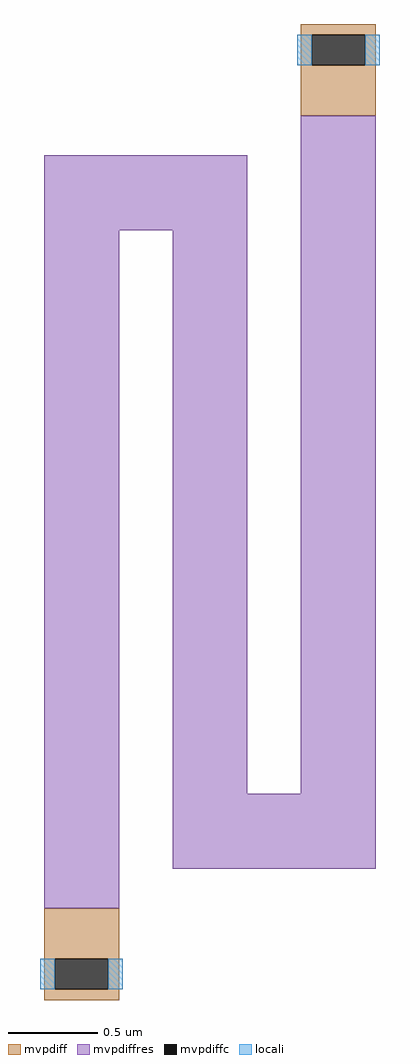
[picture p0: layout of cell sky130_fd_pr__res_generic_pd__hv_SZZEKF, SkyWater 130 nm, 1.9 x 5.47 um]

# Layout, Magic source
magic
tech sky130A
magscale 1 2
<< mvpdiff >>
rect 102 535 186 547
rect 102 501 114 535
rect 174 501 186 535
rect 102 444 186 501
rect -186 -501 -102 -444
rect -186 -535 -174 -501
rect -114 -535 -102 -501
rect -186 -547 -102 -535
<< mvpdiffc >>
rect 114 501 174 535
rect -174 -535 -114 -501
<< mvpdiffres >>
rect -186 316 42 400
rect -186 -444 -102 316
rect -42 -316 42 316
rect 102 -316 186 444
rect -42 -400 186 -316
<< locali >>
rect 98 501 114 535
rect 174 501 190 535
rect -190 -535 -174 -501
rect -114 -535 -98 -501
<< properties >>
string gencell sky130_fd_pr__res_generic_pd__hv
string library sky130
string parameters w 0.42 l 4 m 1 nx 3 wmin 0.42 lmin 2.10 rho 197 val 6.895k dummy 0 dw 0.02 term 0.0 sterm 0.0 caplen 0.60 snake 1 guard 0 glc 1 grc 1 gtc 1 gbc 1 roverlap 0 endcov 100 full_metal 1 vias 1 viagb 0 viagt 0 viagl 0 viagr 0
<< end >>
